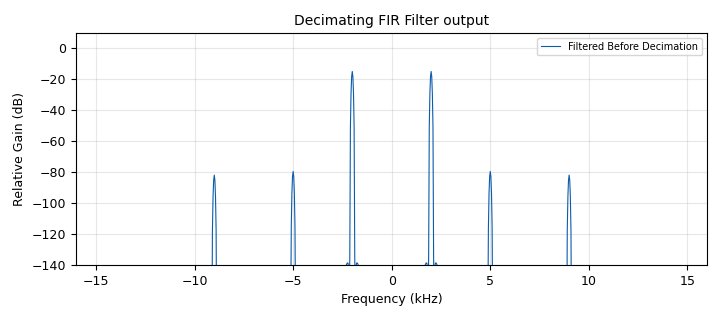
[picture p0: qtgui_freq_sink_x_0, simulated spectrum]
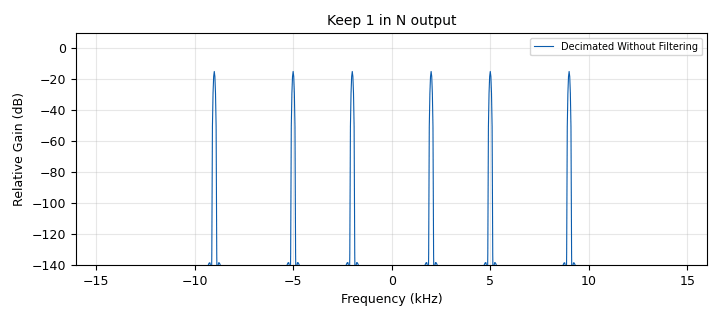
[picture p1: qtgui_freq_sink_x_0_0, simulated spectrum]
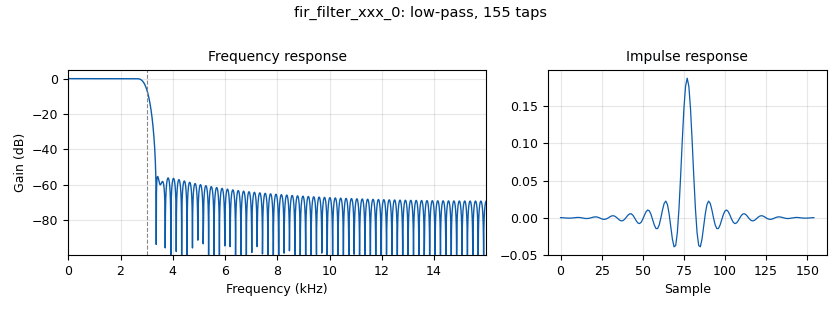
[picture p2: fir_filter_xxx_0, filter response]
options:
  parameters:
    author: Dhrubjun
    generate_options: qt_gui
    id: exp7
    output_language: python
    title: Decimation
  states: {}

blocks:
- name: decimation
  id: variable_qtgui_range
  parameters:
    label: Decimation
    rangeType: int
    start: '1'
    step: '1'
    stop: '10'
    value: '1'
  states: {}
- name: lpf_taps
  id: variable_low_pass_filter_taps
  parameters:
    cutoff_freq: '3000'
    gain: '1.0'
    samp_rate: samp_rate
    width: '500'
    win: window.WIN_HAMMING
  states: {}
- name: num_taps
  id: variable
  parameters:
    value: len(lpf_taps)
  states: {}
- name: samp_rate
  id: variable
  parameters:
    value: '32000'
  states: {}
- name: analog_sig_source_x_0
  id: analog_sig_source_x
  parameters:
    amp: '1'
    freq: '2000'
    offset: '0'
    phase: '0'
    samp_rate: samp_rate
    type: float
    waveform: analog.GR_COS_WAVE
  states: {}
- name: analog_sig_source_x_0_0
  id: analog_sig_source_x
  parameters:
    amp: '1'
    freq: '5000'
    offset: '0'
    phase: '0'
    samp_rate: samp_rate
    type: float
    waveform: analog.GR_COS_WAVE
  states: {}
- name: analog_sig_source_x_0_1
  id: analog_sig_source_x
  parameters:
    amp: '1'
    freq: '9000'
    offset: '0'
    phase: '0'
    samp_rate: samp_rate
    type: float
    waveform: analog.GR_COS_WAVE
  states: {}
- name: blocks_add_xx_0
  id: blocks_add_xx
  parameters:
    num_inputs: '3'
    type: float
  states: {}
- name: blocks_keep_one_in_n_0
  id: blocks_keep_one_in_n
  parameters:
    type: float
  states: {}
- name: blocks_throttle2_0
  id: blocks_throttle2
  parameters:
    samples_per_second: samp_rate
    type: float
  states: {}
- name: fir_filter_xxx_0
  id: fir_filter_xxx
  parameters:
    decim: decimation
    taps: lpf_taps
    type: fff
  states: {}
- name: qtgui_freq_sink_x_0
  id: qtgui_freq_sink_x
  parameters:
    average: '0.05'
    bw: samp_rate/decimation
    fc: '0'
    fftsize: '1024'
    grid: 'True'
    label1: Filtered Before Decimation
    name: Decimating FIR Filter output
    type: float
  states: {}
- name: qtgui_freq_sink_x_0_0
  id: qtgui_freq_sink_x
  parameters:
    bw: samp_rate/decimation
    fc: '0'
    fftsize: '1024'
    grid: 'True'
    label1: Decimated Without Filtering
    name: Keep 1 in N output
    type: float
  states: {}

connections:
- [analog_sig_source_x_0, '0', blocks_add_xx_0, '0']
- [analog_sig_source_x_0_0, '0', blocks_add_xx_0, '1']
- [analog_sig_source_x_0_1, '0', blocks_add_xx_0, '2']
- [blocks_add_xx_0, '0', blocks_throttle2_0, '0']
- [blocks_keep_one_in_n_0, '0', qtgui_freq_sink_x_0_0, '0']
- [blocks_throttle2_0, '0', blocks_keep_one_in_n_0, '0']
- [blocks_throttle2_0, '0', fir_filter_xxx_0, '0']
- [fir_filter_xxx_0, '0', qtgui_freq_sink_x_0, '0']

metadata:
  file_format: 1
  grc_version: 3.10.12.0
